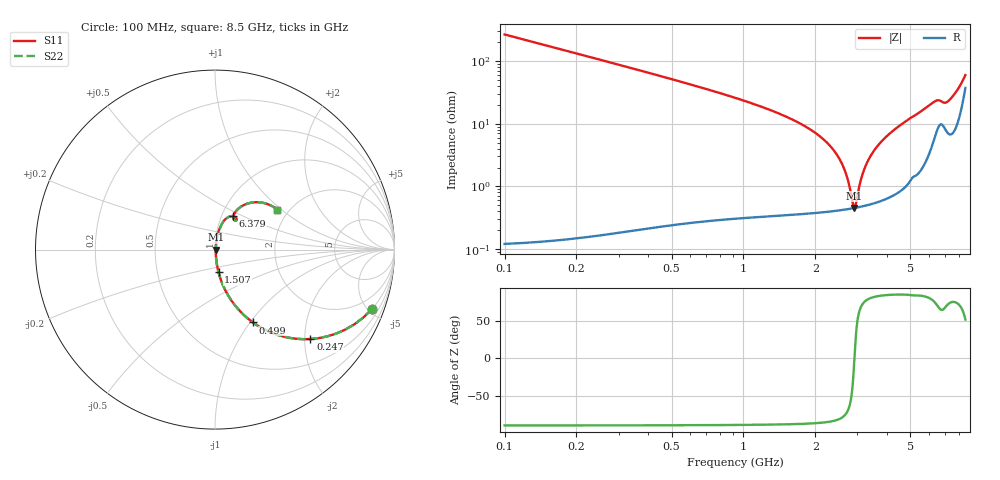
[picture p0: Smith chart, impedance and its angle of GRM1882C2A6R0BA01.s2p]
!Murata Part Number: GRM1882C2A6R0BA01
!These Parameters are Measured in Series Mode Connection
!Data Generated on Mar 30, 2021
!  o--ll--o
!Port1  Port2
!  o------o
!Operation Temp=25[degC], DC Bias Voltage=0[V]
!Freq. Start=100[MHz] Stop=9[GHz] 401[Steps]
# Hz S RI R 50
!Freq.(Hz) S11(Real) S11(Imag) S21(Real) S21(Imag) S12(Real) S12(Imag) S22(Real) S22(Imag)
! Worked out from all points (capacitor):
!   401 points, 100 MHz to 8.5 GHz, reference 50 ohm
!   read as one part in series: C = 6 pF near 142 MHz
!   lowest |Z| = 453 mohm at 2.914 GHz (marker M1)
!   series resonance near 2.916 GHz, so ESL is about 500 pH
!   S11 on the Smith chart (normalised r, x): 100 MHz: 1.00, -5.30; 247 MHz: 1.00, -2.13; 499 MHz: 1.00, -1.03; 1.507 GHz: 1.01, -0.26; 6.379 GHz: 1.13, +0.44; 8.5 GHz: 1.74, +0.93
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1e8  0.8752 -0.3303  0.1248 0.3303  0.1248 0.3303  0.8752 -0.3303
2.47e8  0.5317 -0.4982  0.4683 0.4982  0.4683 0.4982  0.5317 -0.4982
3.73e8  0.3286 -0.4682  0.6714 0.4682  0.6714 0.4682  0.3286 -0.4682
4.99e8  0.2111 -0.4057  0.7889 0.4057  0.7889 0.4057  0.2111 -0.4057
8.56e8  0.0766 -0.2608  0.9234 0.2608  0.9234 0.2608  0.0766 -0.2608
1.507e9  0.0199 -0.1269  0.9801 0.1269  0.9801 0.1269  0.0199 -0.1269
2.095e9  0.00764 -0.0616  0.9924 0.0616  0.9924 0.0616  0.00764 -0.0616
2.452e9  0.00512 -0.0322  0.9949 0.0322  0.9949 0.0322  0.00512 -0.0322
2.683e9  0.00451 -0.0155  0.9955 0.0155  0.9955 0.0155  0.00451 -0.0155
2.767e9  0.00445 -0.00982  0.9956 0.00982  0.9956 0.00982  0.00445 -0.00982
2.872e9  0.00447 -0.00287  0.9955 0.00287  0.9955 0.00287  0.00447 -0.00287
2.914e9  0.0045 -0.000146  0.9955 0.000146  0.9955 0.000146  0.0045 -0.000146
2.956e9  0.00456 0.00254  0.9954 -0.00254  0.9954 -0.00254  0.00456 0.00254
3.145e9  0.00498 0.0143  0.995 -0.0143  0.995 -0.0143  0.00498 0.0143
3.376e9  0.00589 0.028  0.9941 -0.028  0.9941 -0.028  0.00589 0.028
3.754e9  0.00824 0.0494  0.9918 -0.0494  0.9918 -0.0494  0.00824 0.0494
4.3e9  0.0136 0.0791  0.9864 -0.0791  0.9864 -0.0791  0.0136 0.0791
5.707e9  0.0477 0.158  0.9523 -0.158  0.9523 -0.158  0.0477 0.158
6.379e9  0.1011 0.1863  0.8989 -0.1863  0.8989 -0.1863  0.1011 0.1863
7.114e9  0.1027 0.1746  0.8973 -0.1746  0.8973 -0.1746  0.1027 0.1746
7.828e9  0.1592 0.2474  0.8408 -0.2474  0.8408 -0.2474  0.1592 0.2474
8.5e9  0.3467 0.2227  0.6533 -0.2227  0.6533 -0.2227  0.3467 0.2227
